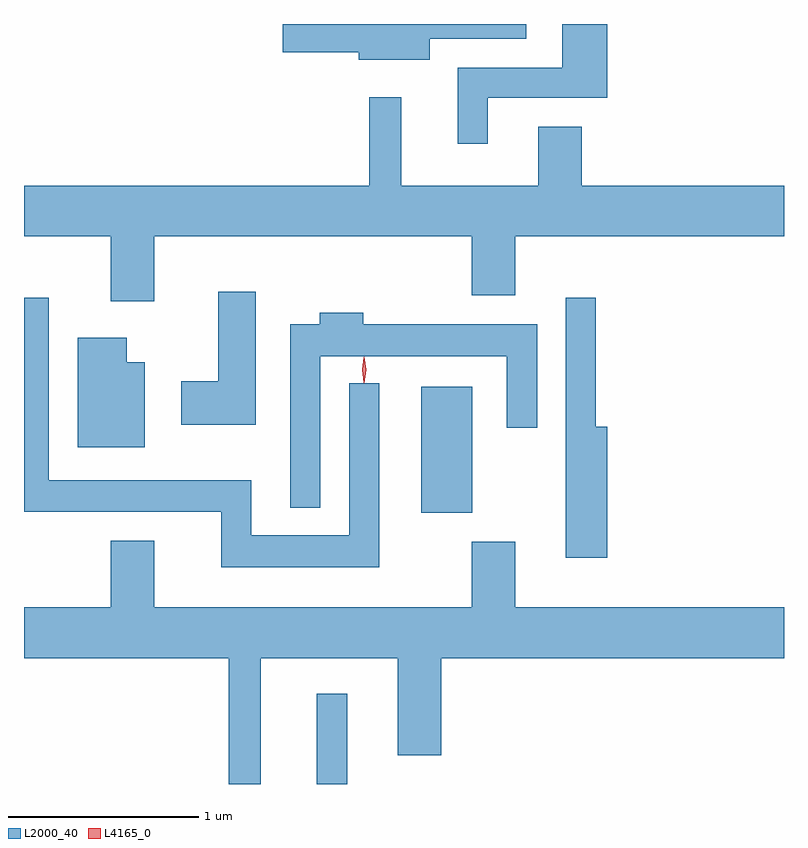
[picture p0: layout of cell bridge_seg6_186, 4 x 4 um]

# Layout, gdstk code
import gdstk
lib = gdstk.Library(unit=1e-6, precision=1e-09)
def R(c, l, rs):  # rectangles x0, y0, x1, y1
    for r in rs: c.add(gdstk.rectangle(r[:2], r[2:], *l))
def P(c, l, *ps):  # polygons
    for p in ps: c.add(gdstk.Polygon(p, *l))
L2000_40 = (2000, 40)
L4165_0 = (4165, 0)

bridge_seg6_186 = lib.new_cell('bridge_seg6_186')
R(bridge_seg6_186, L2000_40, [(1043.876,1589.334,1044.034,1589.808), (1044.426,1590.761,1044.694,1591.424)])
P(bridge_seg6_186, L2000_40, [(1044.774,1592.946),(1045.404,1592.946),(1045.404,1593.334),(1045.166,1593.334),(1045.166,1593.104),(1044.616,1593.104),(1044.616,1592.703),(1044.774,1592.703)],
  [(1044.469,1593.256),(1044.978,1593.256),(1044.978,1593.334),(1043.696,1593.334),(1043.696,1593.186),(1044.096,1593.186),(1044.096,1593.146),(1044.469,1593.146)],
  [(1043.019,1592.216),(1044.691,1592.216),(1044.691,1591.906),(1044.919,1591.906),(1044.919,1592.216),(1046.334,1592.216),(1046.334,1592.484),(1045.269,1592.484),(1045.269,1592.794),(1045.041,1592.794),(1045.041,1592.484),(1044.319,1592.484),(1044.319,1592.948),(1044.151,1592.948),(1044.151,1592.484),(1042.334,1592.484),(1042.334,1592.216),(1042.791,1592.216),(1042.791,1591.876),(1043.019,1591.876)],
  [(1043.554,1591.924),(1043.356,1591.924),(1043.356,1591.454),(1043.161,1591.454),(1043.161,1591.226),(1043.554,1591.226)],
  [(1044.204,1591.443),(1044.046,1591.443),(1044.046,1590.644),(1043.529,1590.644),(1043.529,1590.934),(1042.464,1590.934),(1042.464,1591.893),(1042.334,1591.893),(1042.334,1590.766),(1043.371,1590.766),(1043.371,1590.476),(1044.204,1590.476)],
  [(1045.404,1591.214),(1045.344,1591.214),(1045.344,1591.893),(1045.186,1591.893),(1045.186,1590.526),(1045.404,1590.526)],
  [(1043.894,1591.586),(1044.876,1591.586),(1044.876,1591.208),(1045.034,1591.208),(1045.034,1591.754),(1044.119,1591.754),(1044.119,1591.814),(1043.891,1591.814),(1043.891,1591.754),(1043.736,1591.754),(1043.736,1590.788),(1043.894,1590.788)],
  [(1042.969,1591.554),(1042.874,1591.554),(1042.874,1591.684),(1042.616,1591.684),(1042.616,1591.106),(1042.969,1591.106)],
  [(1043.579,1589.996),(1044.301,1589.996),(1044.301,1589.486),(1044.529,1589.486),(1044.529,1589.996),(1046.334,1589.996),(1046.334,1590.264),(1044.919,1590.264),(1044.919,1590.609),(1044.691,1590.609),(1044.691,1590.264),(1043.019,1590.264),(1043.019,1590.614),(1042.791,1590.614),(1042.791,1590.264),(1042.334,1590.264),(1042.334,1589.996),(1043.411,1589.996),(1043.411,1589.334),(1043.579,1589.334)])
P(bridge_seg6_186, L4165_0, [(1044.123,1591.447),(1044.114,1591.514),(1044.123,1591.58),(1044.124,1591.581),(1044.124,1591.58),(1044.134,1591.514),(1044.124,1591.447),(1044.124,1591.447)],
  [(1044.124,1591.444),(1044.115,1591.513),(1044.124,1591.582),(1044.125,1591.583),(1044.126,1591.582),(1044.135,1591.513),(1044.126,1591.444),(1044.125,1591.444)])

lib.write_gds('bridge_seg6_186.gds')
